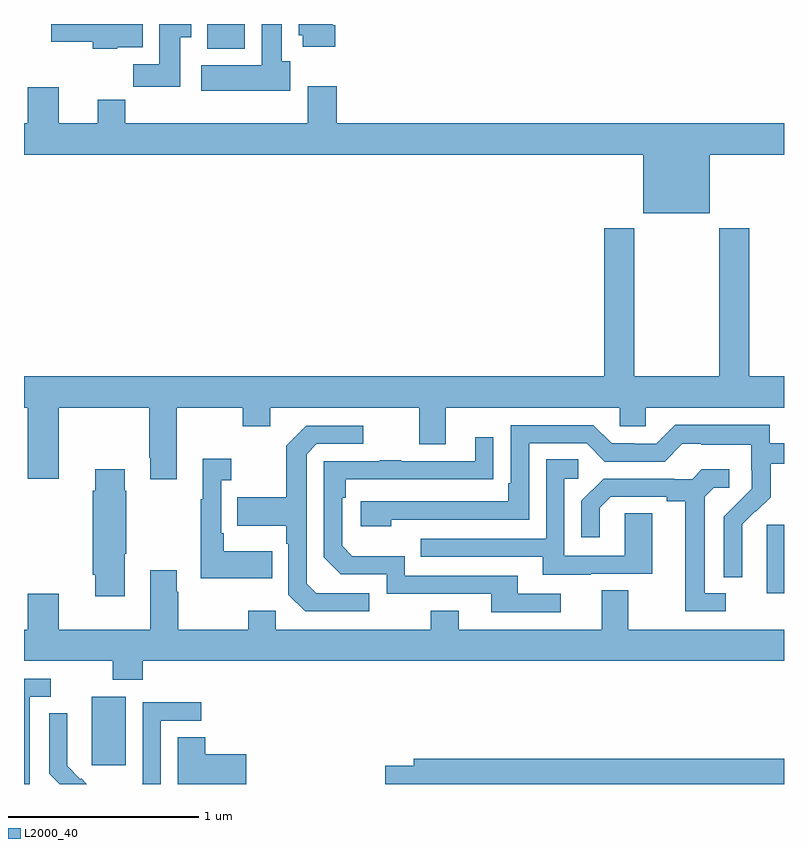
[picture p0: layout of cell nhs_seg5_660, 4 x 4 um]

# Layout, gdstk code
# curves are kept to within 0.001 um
import gdstk
lib = gdstk.Library(unit=1e-6, precision=1e-09)
def R(c, l, rs):  # rectangles x0, y0, x1, y1
    for r in rs: c.add(gdstk.rectangle(r[:2], r[2:], *l))
def P(c, l, *ps):  # polygons
    for p in ps: c.add(gdstk.Polygon(p, *l))
L2000_40 = (2000, 40)

nhs_seg5_660 = lib.new_cell('nhs_seg5_660')
R(nhs_seg5_660, L2000_40, [(153.356,834.897,153.535,835.258), (156.908,835.802,157,836.163), (153.965,838.67,154.162,838.799)])
P(nhs_seg5_660, L2000_40, [(153.823,838.729),(153.88,838.729),(153.88,838.799),(153.713,838.799),(153.713,838.588),(153.574,838.588),(153.574,838.47),(153.823,838.47)],
  [(154.402,838.602),(154.357,838.602),(154.357,838.799),(154.25,838.799),(154.25,838.582),(153.933,838.582),(153.933,838.448),(154.402,838.448)],
  [(153.492,838.676),(153.625,838.676),(153.625,838.799),(153.144,838.799),(153.144,838.706),(153.362,838.706),(153.362,838.67),(153.492,838.67)],
  [(154.637,838.792),(154.624,838.792),(154.624,838.799),(154.445,838.799),(154.445,838.74),(154.466,838.74),(154.466,838.68),(154.637,838.68)],
  [(156.61,838.112),(157,838.112),(157,838.276),(154.646,838.276),(154.646,838.471),(154.493,838.471),(154.493,838.276),(153.533,838.276),(153.533,838.4),(153.389,838.4),(153.389,838.276),(153.184,838.276),(153.184,838.465),(153.02,838.465),(153.02,838.276),(153,838.276),(153,838.112),(156.26,838.112),(156.26,837.803),(156.61,837.803)],
  [(153.805,836.78),(154.15,836.78),(154.15,836.681),(154.297,836.681),(154.297,836.78),(155.081,836.78),(155.081,836.586),(155.221,836.586),(155.221,836.78),(156.135,836.78),(156.135,836.682),(156.273,836.682),(156.273,836.78),(157,836.78),(157,836.944),(156.818,836.944),(156.818,837.724),(156.658,837.724),(156.658,836.944),(156.213,836.944),(156.213,837.724),(156.053,837.724),(156.053,836.944),(153,836.944),(153,836.78),(153.02,836.78),(153.02,836.406),(153.184,836.406),(153.184,836.78),(153.658,836.78),(153.658,836.515),(153.665,836.515),(153.665,836.403),(153.805,836.403)],
  [(156.78,836.042),(156.779,836.165),(156.849,836.235),(156.852,836.232),(156.929,836.309),(156.929,836.484),(157,836.484),(157,836.592),(156.924,836.592),(156.924,836.689),(156.427,836.689),(156.327,836.589),(156.212,836.589),(156.212,836.592),(156.093,836.592),(155.997,836.688),(155.562,836.688),(155.562,836.383),(155.549,836.383),(155.549,836.286),(154.773,836.286),(154.773,836.156),(154.934,836.156),(154.934,836.19),(155.658,836.19),(155.658,836.592),(155.961,836.592),(156.057,836.496),(156.372,836.496),(156.465,836.589),(156.565,836.589),(156.565,836.585),(156.828,836.585),(156.828,836.451),(156.83,836.451),(156.83,836.354),(156.684,836.206),(156.684,835.888),(156.78,835.888)],
  [(154.816,835.803),(154.539,835.803),(154.488,835.854),(154.488,836.535),(154.542,836.589),(154.786,836.589),(154.786,836.685),(154.485,836.685),(154.38,836.579),(154.38,836.307),(154.123,836.307),(154.123,836.159),(154.38,836.159),(154.38,836.063),(154.392,836.063),(154.392,835.794),(154.479,835.707),(154.816,835.707)],
  [(155.824,835.8),(155.599,835.8),(155.599,835.896),(155.004,835.896),(155.004,835.999),(154.727,835.999),(154.674,836.052),(154.674,836.306),(154.694,836.306),(154.694,836.403),(155.471,836.404),(155.471,836.623),(155.375,836.623),(155.375,836.499),(154.985,836.499),(154.985,836.504),(154.873,836.504),(154.873,836.499),(154.578,836.499),(154.578,835.992),(154.668,835.902),(154.908,835.902),(154.908,835.8),(155.459,835.8),(155.459,835.704),(155.824,835.704)],
  [(154.307,836.023),(154.051,836.023),(154.051,836.119),(154.038,836.119),(154.038,836.399),(154.09,836.399),(154.09,836.512),(153.941,836.512),(153.941,836.299),(153.93,836.299),(153.93,835.883),(154.307,835.883)],
  [(155.983,835.905),(156.307,835.905),(156.307,836.225),(156.162,836.225),(156.162,836.001),(155.844,836.001),(155.844,836.406),(155.917,836.406),(155.917,836.507),(155.748,836.507),(155.748,836.091),(155.089,836.091),(155.089,835.995),(155.729,835.995),(155.729,835.901),(155.983,835.901)],
  [(156.694,835.803),(156.583,835.803),(156.583,836.311),(156.63,836.358),(156.712,836.358),(156.712,836.455),(156.568,836.455),(156.516,836.403),(156.422,836.403),(156.422,836.406),(156.05,836.406),(155.934,836.29),(155.934,836.097),(156.031,836.097),(156.031,836.253),(156.088,836.31),(156.383,836.31),(156.383,836.288),(156.479,836.288),(156.479,835.707),(156.694,835.707)],
  [(153.529,836.011),(153.537,836.011),(153.537,836.342),(153.529,836.342),(153.529,836.455),(153.374,836.455),(153.374,836.342),(153.362,836.342),(153.362,835.9),(153.374,835.9),(153.374,835.788),(153.529,835.788)],
  [(153.626,835.448),(157,835.448),(157,835.612),(156.181,835.612),(156.181,835.82),(156.041,835.82),(156.041,835.612),(155.287,835.612),(155.287,835.711),(155.14,835.711),(155.14,835.612),(154.326,835.612),(154.326,835.711),(154.18,835.711),(154.18,835.612),(153.813,835.612),(153.813,835.811),(153.805,835.811),(153.805,835.924),(153.665,835.924),(153.665,835.612),(153.184,835.612),(153.184,835.801),(153.02,835.801),(153.02,835.612),(153,835.612),(153,835.448),(153.466,835.448),(153.466,835.349),(153.626,835.349)],
  [(153.031,835.257),(153.142,835.257),(153.142,835.353),(153,835.353),(153,834.799),(153.031,834.799)],
  [(153.72,835.131),(153.934,835.131),(153.934,835.23),(153.624,835.23),(153.624,834.8),(153.622,834.8),(153.622,834.799),(153.72,834.799)],
  [(153.3,834.828),(153.297,834.825),(153.227,834.896),(153.227,835.018),(153.228,835.018),(153.228,835.172),(153.132,835.172),(153.132,834.854),(153.187,834.799),(153.329,834.799)],
  [(154.171,834.956),(153.953,834.956),(153.953,835.046),(153.809,835.046),(153.809,834.799),(154.171,834.799)],
  [(157,834.932),(155.051,834.932),(155.051,834.896),(154.902,834.896),(154.902,834.799),(157,834.799)])

lib.write_gds('nhs_seg5_660.gds')
